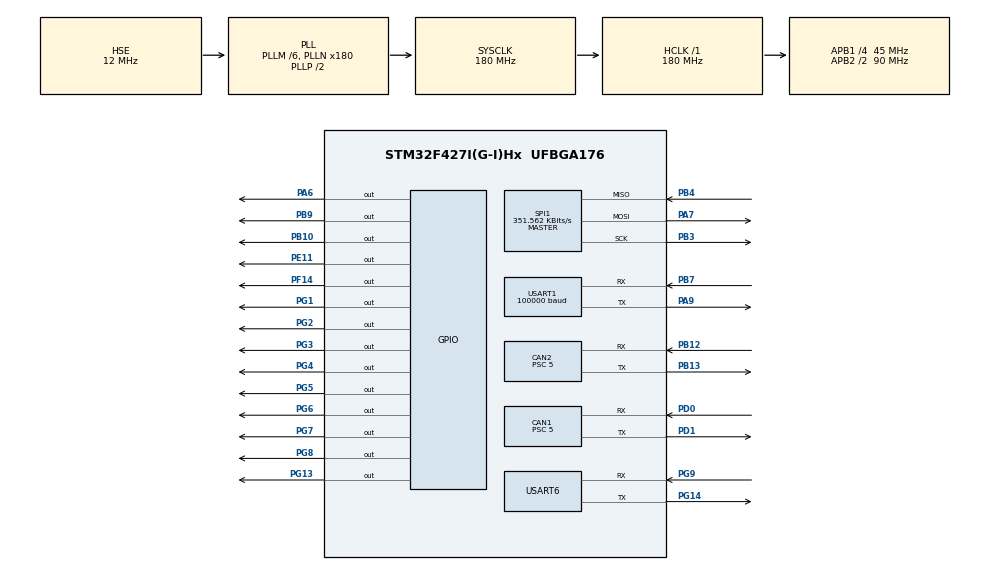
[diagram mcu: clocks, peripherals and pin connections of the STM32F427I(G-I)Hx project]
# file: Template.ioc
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CAN1.ABOM=ENABLE
CAN1.BS1=CAN_BS1_5TQ
CAN1.BS2=CAN_BS2_3TQ
CAN1.CalculateBaudRate=1000000
CAN1.CalculateTimeBit=1000
CAN1.CalculateTimeQuantum=111.11111111111111
CAN1.Prescaler=5
CAN2.ABOM=ENABLE
CAN2.BS1=CAN_BS1_5TQ
CAN2.BS2=CAN_BS2_3TQ
CAN2.CalculateBaudRate=1000000
CAN2.CalculateTimeBit=1000
CAN2.CalculateTimeQuantum=111.11111111111111
CAN2.Prescaler=5
Dma.Request0=USART1_RX
Dma.Request1=USART6_RX
Dma.USART1_RX.0.Direction=DMA_PERIPH_TO_MEMORY
Dma.USART1_RX.0.FIFOMode=DMA_FIFOMODE_DISABLE
Dma.USART1_RX.0.Instance=DMA2_Stream2
Dma.USART1_RX.0.MemDataAlignment=DMA_MDATAALIGN_BYTE
Dma.USART1_RX.0.MemInc=DMA_MINC_ENABLE
Dma.USART1_RX.0.Mode=DMA_NORMAL
Dma.USART1_RX.0.PeriphDataAlignment=DMA_PDATAALIGN_BYTE
Dma.USART1_RX.0.PeriphInc=DMA_PINC_DISABLE
Dma.USART1_RX.0.Priority=DMA_PRIORITY_VERY_HIGH
Dma.USART6_RX.1.Direction=DMA_PERIPH_TO_MEMORY
Dma.USART6_RX.1.FIFOMode=DMA_FIFOMODE_DISABLE
Dma.USART6_RX.1.Instance=DMA2_Stream1
Dma.USART6_RX.1.MemDataAlignment=DMA_MDATAALIGN_BYTE
Dma.USART6_RX.1.MemInc=DMA_MINC_ENABLE
Dma.USART6_RX.1.Mode=DMA_NORMAL
Dma.USART6_RX.1.PeriphDataAlignment=DMA_PDATAALIGN_BYTE
Dma.USART6_RX.1.PeriphInc=DMA_PINC_DISABLE
Dma.USART6_RX.1.Priority=DMA_PRIORITY_LOW
FREERTOS.Tasks01=defaultTask,0,128,StartDefaultTask,Default,NULL,Dynamic,NULL,NULL
Mcu.Family=STM32F4
Mcu.Name=STM32F427I(G-I)Hx
Mcu.Package=UFBGA176
NVIC.CAN1_RX0_IRQn=true\:5\:0\:false\:false\:true\:true\:true\:true\:true
NVIC.CAN2_RX0_IRQn=true\:5\:0\:false\:false\:true\:true\:true\:true\:true
NVIC.DMA2_Stream1_IRQn=true\:5\:0\:false\:false\:true\:true\:false\:true\:true
NVIC.DMA2_Stream2_IRQn=true\:5\:0\:false\:false\:true\:true\:false\:true\:true
NVIC.PriorityGroup=NVIC_PRIORITYGROUP_4
NVIC.TIM1_UP_TIM10_IRQn=true\:15\:0\:false\:false\:true\:false\:false\:true\:true
NVIC.TIM2_IRQn=true\:5\:0\:false\:false\:true\:true\:true\:true\:true
NVIC.TimeBase=TIM1_UP_TIM10_IRQn
NVIC.TimeBaseIP=TIM1
NVIC.USART1_IRQn=true\:5\:0\:false\:false\:true\:true\:true\:true\:true
NVIC.USART6_IRQn=true\:5\:0\:false\:false\:true\:true\:true\:true\:true
PA13.Mode=Serial_Wire
PA13.Signal=SYS_JTMS-SWDIO
PA14.Mode=Serial_Wire
PA14.Signal=SYS_JTCK-SWCLK
PA6.Signal=GPIO_Output
PA7.Mode=Full_Duplex_Master
PA7.Signal=SPI1_MOSI
PA9.Mode=Asynchronous
PA9.Signal=USART1_TX
PB10.Signal=GPIO_Output
PB12.Mode=CAN_Activate
PB12.Signal=CAN2_RX
PB13.Mode=CAN_Activate
PB13.Signal=CAN2_TX
PB3.Mode=Full_Duplex_Master
PB3.Signal=SPI1_SCK
PB4.Mode=Full_Duplex_Master
PB4.Signal=SPI1_MISO
PB7.Mode=Asynchronous
PB7.Signal=USART1_RX
PB9.GPIO_Speed=GPIO_SPEED_FREQ_VERY_HIGH
PB9.Signal=GPIO_Output
PD0.Mode=CAN_Activate
PD0.Signal=CAN1_RX
PD1.Mode=CAN_Activate
PD1.Signal=CAN1_TX
PD8.Signal=USART3_TX
PD9.Signal=USART3_RX
PE11.PinState=GPIO_PIN_RESET
PE11.Signal=GPIO_Output
PF14.PinState=GPIO_PIN_RESET
PF14.Signal=GPIO_Output
PG1.Signal=GPIO_Output
PG13.PinState=GPIO_PIN_SET
PG13.Signal=GPIO_Output
PG14.Mode=Asynchronous
PG14.Signal=USART6_TX
PG2.Signal=GPIO_Output
PG3.Signal=GPIO_Output
PG4.Signal=GPIO_Output
PG5.Signal=GPIO_Output
PG6.Signal=GPIO_Output
PG7.Signal=GPIO_Output
PG8.Signal=GPIO_Output
PG9.Mode=Asynchronous
PG9.Signal=USART6_RX
PH0/OSC_IN.Mode=HSE-External-Oscillator
PH0/OSC_IN.Signal=RCC_OSC_IN
PH1/OSC_OUT.Mode=HSE-External-Oscillator
PH1/OSC_OUT.Signal=RCC_OSC_OUT
ProjectManager.HeapSize=0x200
ProjectManager.StackSize=0x400
ProjectManager.TargetToolchain=MDK-ARM V5.32
RCC.48MHZClocksFreq_Value=90000000
RCC.AHBFreq_Value=180000000
RCC.APB1CLKDivider=RCC_HCLK_DIV4
RCC.APB1Freq_Value=45000000
RCC.APB1TimFreq_Value=90000000
RCC.APB2CLKDivider=RCC_HCLK_DIV2
RCC.APB2Freq_Value=90000000
RCC.APB2TimFreq_Value=180000000
RCC.CortexFreq_Value=180000000
RCC.HCLKFreq_Value=180000000
RCC.HSE_VALUE=12000000
RCC.HSI_VALUE=16000000
RCC.LSE_VALUE=32768
RCC.PLLM=6
RCC.PLLN=180
RCC.PLLSourceVirtual=RCC_PLLSOURCE_HSE
RCC.SYSCLKFreq_VALUE=180000000
RCC.SYSCLKSource=RCC_SYSCLKSOURCE_PLLCLK
RCC.VCOOutputFreq_Value=360000000
SPI1.BaudRatePrescaler=SPI_BAUDRATEPRESCALER_256
SPI1.CLKPhase=SPI_PHASE_2EDGE
SPI1.CLKPolarity=SPI_POLARITY_HIGH
SPI1.CalculateBaudRate=351.562 KBits/s
SPI1.Direction=SPI_DIRECTION_2LINES
SPI1.Mode=SPI_MODE_MASTER
SPI1.VirtualType=VM_MASTER
TIM2.Period=999
TIM2.Prescaler=89
TIM3.Channel-PWM\ Generation1\ No\ Output=TIM_CHANNEL_1
TIM3.Period=99
TIM3.Prescaler=89
TIM3.Pulse-PWM\ Generation1\ No\ Output=499
TIM3.TIM_MasterOutputTrigger=TIM_TRGO_UPDATE
USART1.BaudRate=100000
USART1.Parity=PARITY_EVEN
USART1.VirtualMode=VM_ASYNC
USART6.VirtualMode=VM_ASYNC
VP_FREERTOS_VS_CMSIS_V1.Mode=CMSIS_V1
VP_SYS_VS_tim1.Mode=TIM1
VP_TIM2_VS_ClockSourceINT.Mode=Internal
VP_TIM3_VS_ClockSourceINT.Mode=Internal
VP_TIM3_VS_no_output1.Mode=PWM Generation1 No Output
board=custom

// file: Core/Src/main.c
/* USER CODE BEGIN Header */
/**
 ******************************************************************************
 * @file           : main.c
 * @brief          : Main program body
 ******************************************************************************
 * @attention
 *
 * Copyright (c) 2023 STMicroelectronics.
 * All rights reserved.
 *
 * This software is licensed under terms that can be found in the LICENSE file
 * in the root directory of this software component.
 * If no LICENSE file comes with this software, it is provided AS-IS.
 *
 ******************************************************************************
 */
/* USER CODE END Header */
#include "main.h"
#include "cmsis_os.h"
#include "can.h"
#include "dma.h"
#include "spi.h"
#include "tim.h"
#include "usart.h"
#include "gpio.h"

/* USER CODE BEGIN Includes */
#include "bsp_can.h"
#include "remote.h"
#include "Referee.h"
#include "InterruptService.h"
/* USER CODE END Includes */

void SystemClock_Config(void);
void MX_FREERTOS_Init(void);

int main(void)
{

  /* MCU Configuration--------------------------------------------------------*/

  /* Reset of all peripherals, Initializes the Flash interface and the Systick. */
  HAL_Init();

  /* Configure the system clock */
  SystemClock_Config();

  /* Initialize all configured peripherals */
  MX_GPIO_Init();
  MX_DMA_Init();
  MX_CAN1_Init();
  MX_CAN2_Init();
  MX_USART1_UART_Init();
  MX_TIM2_Init();
  MX_TIM3_Init();
  MX_USART6_UART_Init();
  MX_SPI1_Init();
  /* USER CODE BEGIN 2 */
  remote_control_init();
  RefereeInit();
  can_filter_init();
  HAL_TIM_Base_Start_IT(&htim2);
  //	adc_init();
  /* USER CODE END 2 */

  /* Call init function for freertos objects (in freertos.c) */
  MX_FREERTOS_Init();

  /* Start scheduler */
  osKernelStart();
  /* We should never get here as control is now taken by the scheduler */
  /* Infinite loop */
  while (1)
  {

  }
}

void SystemClock_Config(void)
{
  RCC_OscInitTypeDef RCC_OscInitStruct = {0};
  RCC_ClkInitTypeDef RCC_ClkInitStruct = {0};

  /** Configure the main internal regulator output voltage
  */
  __HAL_RCC_PWR_CLK_ENABLE();
  __HAL_PWR_VOLTAGESCALING_CONFIG(PWR_REGULATOR_VOLTAGE_SCALE1);

  /** Initializes the RCC Oscillators according to the specified parameters
  * in the RCC_OscInitTypeDef structure.
  */
  RCC_OscInitStruct.OscillatorType = RCC_OSCILLATORTYPE_HSE;
  RCC_OscInitStruct.HSEState = RCC_HSE_ON;
  RCC_OscInitStruct.PLL.PLLState = RCC_PLL_ON;
  RCC_OscInitStruct.PLL.PLLSource = RCC_PLLSOURCE_HSE;
  RCC_OscInitStruct.PLL.PLLM = 6;
  RCC_OscInitStruct.PLL.PLLN = 180;
  RCC_OscInitStruct.PLL.PLLP = RCC_PLLP_DIV2;
  RCC_OscInitStruct.PLL.PLLQ = 4;
  if (HAL_RCC_OscConfig(&RCC_OscInitStruct) != HAL_OK)
  {
    Error_Handler();
  }

  /** Activate the Over-Drive mode
  */
  if (HAL_PWREx_EnableOverDrive() != HAL_OK)
  {
    Error_Handler();
  }

  /** Initializes the CPU, AHB and APB buses clocks
  */
  RCC_ClkInitStruct.ClockType = RCC_CLOCKTYPE_HCLK|RCC_CLOCKTYPE_SYSCLK
                              |RCC_CLOCKTYPE_PCLK1|RCC_CLOCKTYPE_PCLK2;
  RCC_ClkInitStruct.SYSCLKSource = RCC_SYSCLKSOURCE_PLLCLK;
  RCC_ClkInitStruct.AHBCLKDivider = RCC_SYSCLK_DIV1;
  RCC_ClkInitStruct.APB1CLKDivider = RCC_HCLK_DIV4;
  RCC_ClkInitStruct.APB2CLKDivider = RCC_HCLK_DIV2;

  if (HAL_RCC_ClockConfig(&RCC_ClkInitStruct, FLASH_LATENCY_5) != HAL_OK)
  {
    Error_Handler();
  }
}

void HAL_TIM_PeriodElapsedCallback(TIM_HandleTypeDef *htim)
{
  if (htim->Instance == TIM1) {
    HAL_IncTick();
  }
}

void Error_Handler(void)
{
  __disable_irq();
  while (1)
  {
  }
}

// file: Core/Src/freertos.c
/* USER CODE BEGIN Header */
/**
 ******************************************************************************
 * File Name          : freertos.c
 * Description        : Code for freertos applications
 ******************************************************************************
 * @attention
 *
 * Copyright (c) 2023 STMicroelectronics.
 * All rights reserved.
 *
 * This software is licensed under terms that can be found in the LICENSE file
 * in the root directory of this software component.
 * If no LICENSE file comes with this software, it is provided AS-IS.
 *
 ******************************************************************************
 */
/* USER CODE END Header */

#include "FreeRTOS.h"
#include "task.h"
#include "main.h"
#include "cmsis_os.h"

/* USER CODE BEGIN Includes */
#include "LauchThread.h"
#include "DebugLight.h"
#include "oled_reflesh_thread.h"
/* USER CODE END Includes */

/* USER CODE BEGIN Variables */
osThreadId LauchThreadHandle;
osThreadId DebugLightThreadHandle;
osThreadId oled_reflesh_thread_handle;
/* USER CODE END Variables */
osThreadId defaultTaskHandle;

void StartDefaultTask(void const * argument);

void MX_FREERTOS_Init(void); /* (MISRA C 2004 rule 8.1) */

/* GetIdleTaskMemory prototype (linked to static allocation support) */
void vApplicationGetIdleTaskMemory( StaticTask_t **ppxIdleTaskTCBBuffer, StackType_t **ppxIdleTaskStackBuffer, uint32_t *pulIdleTaskStackSize );

/* USER CODE BEGIN GET_IDLE_TASK_MEMORY */
static StaticTask_t xIdleTaskTCBBuffer;
static StackType_t xIdleStack[configMINIMAL_STACK_SIZE];

void vApplicationGetIdleTaskMemory(StaticTask_t **ppxIdleTaskTCBBuffer, StackType_t **ppxIdleTaskStackBuffer, uint32_t *pulIdleTaskStackSize)
{
  *ppxIdleTaskTCBBuffer = &xIdleTaskTCBBuffer;
  *ppxIdleTaskStackBuffer = &xIdleStack[0];
  *pulIdleTaskStackSize = configMINIMAL_STACK_SIZE;
  /* place for user code */
}
/* USER CODE END GET_IDLE_TASK_MEMORY */

void MX_FREERTOS_Init(void) {

  /* Create the thread(s) */
  /* definition and creation of defaultTask */
  osThreadDef(defaultTask, StartDefaultTask, osPriorityNormal, 0, 128);
  defaultTaskHandle = osThreadCreate(osThread(defaultTask), NULL);

  /* USER CODE BEGIN RTOS_THREADS */
  /* add threads, ... */
  /* ������� */
  osThreadDef(Lauch, LauchThread, osPriorityHigh, 0, 1024);
  LauchThreadHandle = osThreadCreate(osThread(Lauch), NULL);
  /* bugָʾ�� */
  osThreadDef(DebugLight, DebugLightThread, osPriorityNormal, 0, 128);
  DebugLightThreadHandle = osThreadCreate(osThread(DebugLight), NULL);

  osThreadDef(oled_reflesh, oled_reflesh_thread, osPriorityNormal, 0, 512);
  oled_reflesh_thread_handle = osThreadCreate(osThread(oled_reflesh), NULL);
  /* USER CODE END RTOS_THREADS */

}

void StartDefaultTask(void const * argument)
{
  for (;;)
  {
    osDelay(1);
  }
}
